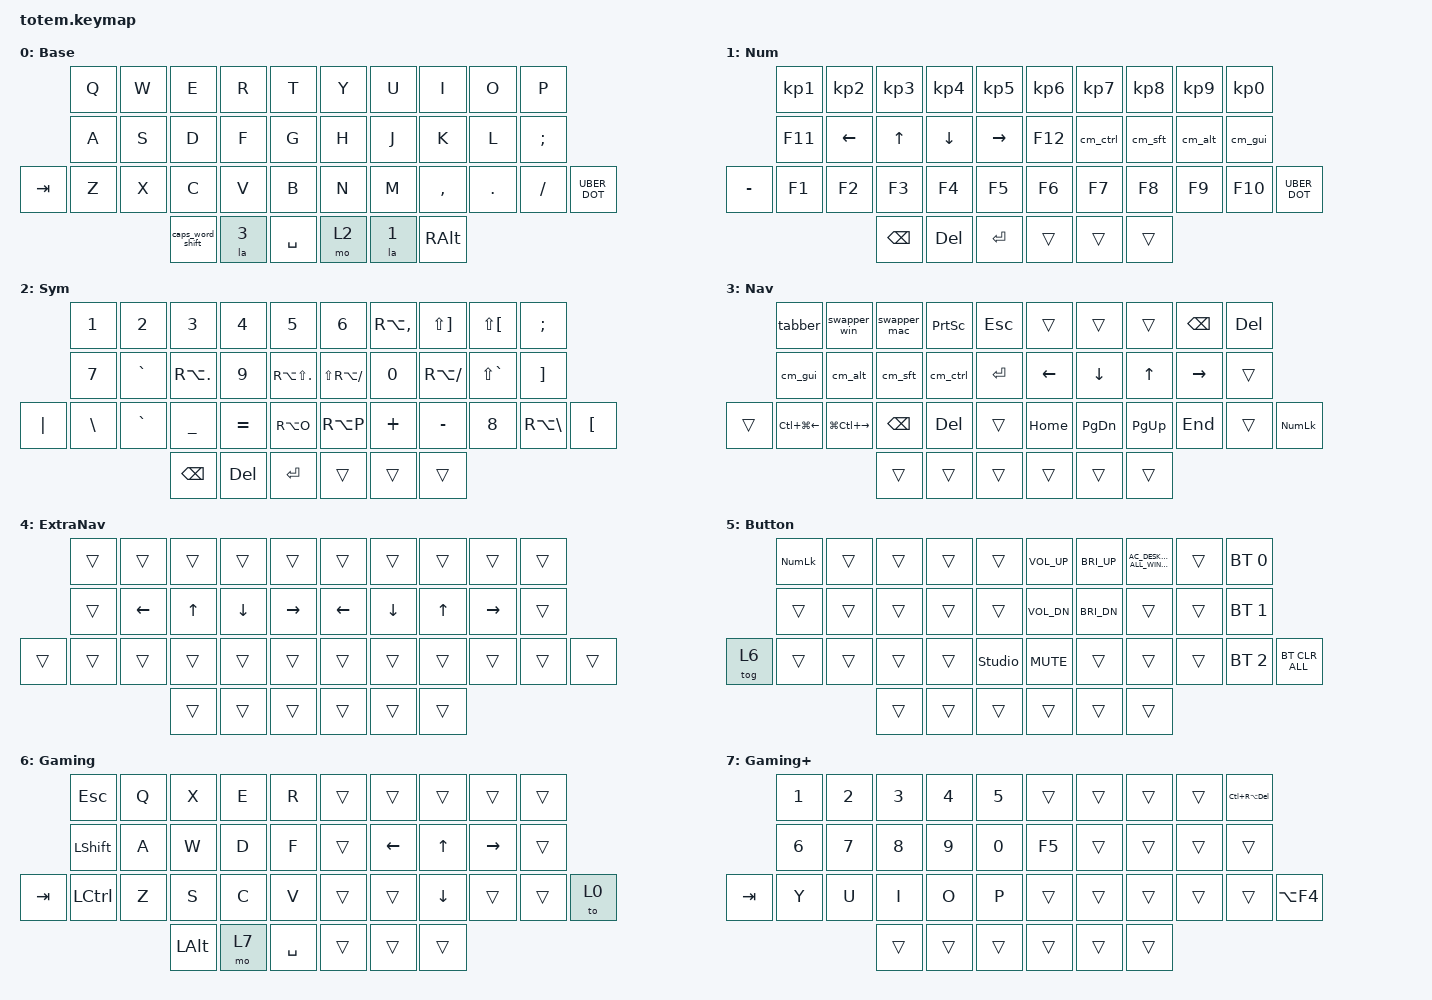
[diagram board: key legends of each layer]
//
//                                                        ▀▀▀▀▀     ▀▀▀▀▀          ▀▀█▀▀
//                                                        ▄▀▀▀▄  ▄  ▄▀▀▀▄  ▄  ▄▀▀▀▄  █  ▄▀▀▀▄
//                                                        █   █  █  █   █  █  █   █  █  █   █
//                                                         ▀▀▀   █   ▀▀▀   █   ▀▀▀   ▀   ▀▀▀
//                                                               █      ▄▄▄█▄▄▄    █   █  
//                                                               ▀      █  █  █     █▄█
//                                                             ▀▀▀▀▀    █  █  █      ▀
//                                                                      ▀  ▀  ▀
//
// ▄▄▄▄▄▄▄▄▄▄▄▄▄▄▄▄▄▄▄▄▄▄▄▄▄▄▄▄▄▄▄▄▄▄▄▄▄▄▄▄▄▄▄▄▄▄▄▄▄▄▄▄▄▄▄▄▄▄▄▄▄▄▄▄▄▄▄▄▄▄▄▄▄▄▄▄▄▄▄▄▄▄▄▄▄▄▄▄▄▄▄▄▄▄▄▄▄▄▄▄▄▄▄▄▄▄▄▄▄▄▄▄▄▄▄▄▄▄▄▄▄▄▄▄▄▄▄▄▄▄▄▄▄▄▄▄▄▄▄▄▄▄▄▄▄▄▄▄▄

#include <behaviors.dtsi>
#include <dt-bindings/zmk/bt.h>
#include <dt-bindings/zmk/keys.h>

#define Base        0
#define Media       1
#define Nav         2
#define Mouse       3
#define Sym         4
#define Num         5
#define Fun         6
#define Button      7
#define Game        8
#define Gameplus    9

#define MEH(key) LS(LC(LA(key)))

#define SQT GRAVE
#define DQT LS(GRAVE)
#define GRV RA(GRAVE)
#define PIP LS(BSLH)
#define BSL RA(BSLH)
#define NBSP RA(SPACE)
#define NSPC LC(LG(RIGHT))
#define PSPC LC(LG(LEFT))
#define PARAM_1 0
#define PARAM_2 0

#define MACRO(NAME, COMPATIBLE, BINDING_CELLS, BINDINGS) \
    NAME: NAME { \
        compatible = COMPATIBLE; \
        #binding-cells = <BINDING_CELLS>; \
        wait-ms = <0>; \
        tap-ms = <0>; \
        bindings = \
            <BINDINGS>; \
    };
#define MACRO_NO_PARAM(NAME, BINDINGS)  MACRO(NAME, "zmk,behavior-macro"          , 0, BINDINGS)
#define MACRO_ONE_PARAM(NAME, BINDINGS) MACRO(NAME, "zmk,behavior-macro-one-param", 1, BINDINGS)
#define MACRO_TWO_PARAM(NAME, BINDINGS) MACRO(NAME, "zmk,behavior-macro-two-param", 2, BINDINGS)

#define MAX_TIMER __UINT32_MAX__ // around 50 days

#define STICKY_FOREVER(NAME, BIND) \
    NAME: NAME { \
        compatible = "zmk,behavior-sticky-key"; \
        #binding-cells = <1>; \
        bindings = <BIND>; \
        release-after-ms = <MAX_TIMER>; \
        ignore-modifiers; \
    };
#define MODMORPH(NAME, NORMAL, MORPHED, MODS, KEEP_MODS) \
    NAME: NAME { \
        compatible = "zmk,behavior-mod-morph"; \
        #binding-cells = <0>; \
        bindings = <NORMAL>, <MORPHED>; \
        mods = <(MODS)>; \
        keep-mods = <(KEEP_MODS)>; \
    };

/ {
    behaviors {
        MACRO_ONE_PARAM(
            m_release_key_twice,
            &macro_release
                &macro_param_1to1 &kp PARAM_1
                &macro_param_1to1 &kp PARAM_1
        )


        MACRO_ONE_PARAM(
            m_press_key_twice,
            &macro_press
                &macro_param_1to1 &kp PARAM_1
                &macro_param_1to1 &kp PARAM_1
            &macro_pause_for_release
            &macro_tap
                &m_release_key_twice PARAM_1
        )

        STICKY_FOREVER(sticky_forever, &m_press_key_twice)

        MODMORPH(
            cm_gui,
            &sticky_forever LGUI,
            &m_release_key_twice LGUI,
            MOD_LGUI,
            MOD_LGUI
        )

        MODMORPH(
            cm_alt,
            &sticky_forever LALT,
            &m_release_key_twice LALT,
            MOD_LALT,
            MOD_LALT
        )

        MODMORPH(
            cm_ctrl,
            &sticky_forever LCTRL,
            &m_release_key_twice LCTRL,
            MOD_LCTL,
            MOD_LCTL
        )

        MODMORPH(
            cm_sft,
            &sticky_forever LSHIFT,
            &m_release_key_twice LSHIFT,
            MOD_LSFT,
            MOD_LSFT
        )

        MACRO_TWO_PARAM(
            m_hold_mod_press_key,
            &macro_press
                &macro_param_1to1 &kp PARAM_1
            &macro_tap
                &macro_param_2to1 &kp PARAM_2
        )

        MODMORPH(
            tabber,
            &m_hold_mod_press_key LCTRL TAB,
            &kp TAB,
            MOD_LCTL,
            MOD_LCTL
        )

        MODMORPH(
            swapper_win,
            &m_hold_mod_press_key LALT TAB,
            &kp TAB,
            MOD_LALT,
            MOD_LALT
        )

        MODMORPH(
            swapper_mac,
            &m_hold_mod_press_key LGUI TAB,
            &kp TAB,
            MOD_LGUI,
            MOD_LGUI
        )

        MACRO_ONE_PARAM(
            la,
            &macro_tap
                &kp 0 // do nothing, fire all sticky keys
        &macro_press
                &macro_param_1to1 &mo PARAM_1
            &macro_pause_for_release
            &macro_release
                &macro_param_1to1 &mo PARAM_1
                &kp LSHFT
                &kp LCTRL
                &kp LALT
                &kp LGUI
        )

        KP_DOT_SHIFT_COMMA: KP_DOT_SHIFT_COMMA {
            compatible = "zmk,behavior-mod-morph";
            label = "KP_DOT_SHIFT_COMMA";
            bindings = <&kp RBKT>, <&kp LBKT>;

            #binding-cells = <0>;
            mods = <(MOD_LSFT|MOD_RSFT)>;
        };

        KP_COLON_SHIFT_SEMICOLON: KP_COLON_SHIFT_SEMICOLON {
            compatible = "zmk,behavior-mod-morph";
            label = "KP_COLON_SHIFT_SEMICOLON";
            bindings = <&kp LS(RBKT)>, <&kp LS(LBKT)>;

            #binding-cells = <0>;
            mods = <(MOD_LSFT|MOD_RSFT)>;
        };

        UBER_DOT: UBER_DOT {
            compatible = "zmk,behavior-mod-morph";
            label = "UBER_DOT";
            bindings = <&KP_DOT_SHIFT_COMMA>, <&KP_COLON_SHIFT_SEMICOLON>;

            #binding-cells = <0>;
            mods = <(MOD_LALT|MOD_RALT)>;
        };

        caps_word_shift: caps_word_shift {
            compatible = "zmk,behavior-tap-dance";
            label = "CAPS_WORD_SHIFT";
            #binding-cells = <0>;
            bindings = <&kp LEFT_SHIFT>, <&caps_word>;
        };
    };

    combos {
        compatible = "zmk,combos";

        extra-nav-left {
            bindings = <&mo 4>;
            key-positions = <33 34>;
        };

        enter-left {
            bindings = <&kp ENTER>;
            key-positions = <25 24>;
        };

        enter-right {
            bindings = <&kp ENTER>;
            key-positions = <27 26>;
        };

        delete-left {
            bindings = <&kp DEL>;
            key-positions = <3 4>;
        };

        delete-right {
            bindings = <&kp DEL>;
            key-positions = <5 6>;
        };

        extra-nav-right {
            bindings = <&mo 4>;
            key-positions = <35 36>;
        };

        esc_left {
            bindings = <&kp ESCAPE>;
            key-positions = <4 14>;
        };

        esc_right {
            bindings = <&kp ESCAPE>;
            key-positions = <5 15>;
        };

        LANG {
            bindings = <&kp CAPS>;
            key-positions = <32 37>;
        };

        l5 {
            bindings = <&mo 5>;
            key-positions = <33 36>;
        };
    };

    keymap {
        compatible = "zmk,keymap";

        Base {
            bindings = <
         &kp Q  &kp W  &kp E             &kp R  &kp T        &kp Y  &kp U  &kp I      &kp O    &kp P
         &kp A  &kp S  &kp D             &kp F  &kp G        &kp H  &kp J  &kp K      &kp L    &kp SEMI
&kp TAB  &kp Z  &kp X  &kp C             &kp V  &kp B        &kp N  &kp M  &kp COMMA  &kp DOT  &kp FSLH  &UBER_DOT
                       &caps_word_shift  &la 3  &kp SPACE    &mo 2  &la 1  &kp RALT
            >;
        };

        Num {
            bindings = <
           &kp KP_N1  &kp KP_N2       &kp KP_N3      &kp KP_N4       &kp KP_N5          &kp KP_N6  &kp KP_N7  &kp KP_N8  &kp KP_N9  &kp KP_N0
           &kp F11    &kp LEFT_ARROW  &kp UP_ARROW   &kp DOWN_ARROW  &kp RIGHT_ARROW    &kp F12    &cm_ctrl   &cm_sft    &cm_alt    &cm_gui
&kp MINUS  &kp F1     &kp F2          &kp F3         &kp F4          &kp F5             &kp F6     &kp F7     &kp F8     &kp F9     &kp F10    &UBER_DOT
                                      &kp BACKSPACE  &kp DELETE      &kp ENTER          &trans     &trans     &trans
            >;
        };

        Sym {
            bindings = <
          &kp N1         &kp N2     &kp N3         &kp N4      &kp N5             &kp N6            &kp RA(COMMA)  &kp LS(RBKT)  &kp LS(LBKT)  &kp SEMI
          &kp N7         &kp SQT    &kp RA(DOT)    &kp N9      &kp RA(LS(DOT))    &kp LS(RA(FSLH))  &kp N0         &kp RA(FSLH)  &kp DQT       &kp RBKT
&kp PIPE  &kp BACKSLASH  &kp GRAVE  &kp UNDER      &kp EQUAL   &kp RA(O)          &kp RA(P)         &kp PLUS       &kp MINUS     &kp N8        &kp RA(BSLH)  &kp LBKT
                                    &kp BACKSPACE  &kp DELETE  &kp ENTER          &trans            &trans         &trans
            >;
        };

        Nav {
            bindings = <
        &tabber           &swapper_win       &swapper_mac   &kp PSCRN  &kp ESC    &trans          &trans          &trans        &kp BSPC         &kp DELETE
        &cm_gui           &cm_alt            &cm_sft        &cm_ctrl   &kp RET    &kp LEFT_ARROW  &kp DOWN_ARROW  &kp UP_ARROW  &kp RIGHT_ARROW  &trans
&trans  &kp LC(LG(LEFT))  &kp LG(LC(RIGHT))  &kp BACKSPACE  &kp DEL    &trans     &kp HOME        &kp PG_DN       &kp PG_UP     &kp END          &trans      &kp KP_NUM
                                             &trans         &trans     &trans     &trans          &trans          &trans
            >;
        };

        ExtraNav {
            bindings = <
        &trans  &trans          &trans        &trans          &trans             &trans          &trans          &trans        &trans           &trans
        &trans  &kp LEFT_ARROW  &kp UP_ARROW  &kp DOWN_ARROW  &kp RIGHT_ARROW    &kp LEFT_ARROW  &kp DOWN_ARROW  &kp UP_ARROW  &kp RIGHT_ARROW  &trans
&trans  &trans  &trans          &trans        &trans          &trans             &trans          &trans          &trans        &trans           &trans  &trans
                                &trans        &trans          &trans             &trans          &trans          &trans
            >;
        };

        Button {
            bindings = <
        &kp KP_NUMLOCK  &trans  &trans  &trans  &trans            &kp C_VOL_UP  &kp C_BRI_UP  &kp C_AC_DESKTOP_SHOW_ALL_WINDOWS  &trans  &bt BT_SEL 0
        &trans          &trans  &trans  &trans  &trans            &kp C_VOL_DN  &kp C_BRI_DN  &trans                             &trans  &bt BT_SEL 1
&tog 6  &trans          &trans  &trans  &trans  &studio_unlock    &kp C_MUTE    &trans        &trans                             &trans  &bt BT_SEL 2  &bt BT_CLR_ALL
                                &trans  &trans  &trans            &trans        &trans        &trans
            >;
        };

        Gaming {
            bindings = <
         &kp ESCAPE        &kp Q  &kp X         &kp E  &kp R        &trans  &trans          &trans          &trans           &trans
         &kp LEFT_SHIFT    &kp A  &kp W         &kp D  &kp F        &trans  &kp LEFT_ARROW  &kp UP_ARROW    &kp RIGHT_ARROW  &trans
&kp TAB  &kp LEFT_CONTROL  &kp Z  &kp S         &kp C  &kp V        &trans  &trans          &kp DOWN_ARROW  &trans           &trans  &to 0
                                  &kp LEFT_ALT  &mo 7  &kp SPACE    &trans  &trans          &trans
            >;
        };

        Gaming+ {
            bindings = <
         &kp NUMBER_1  &kp NUMBER_2  &kp NUMBER_3  &kp NUMBER_4  &kp NUMBER_5    &trans  &trans  &trans  &trans  &kp LC(RA(DEL))
         &kp NUMBER_6  &kp NUMBER_7  &kp NUMBER_8  &kp NUMBER_9  &kp NUMBER_0    &kp F5  &trans  &trans  &trans  &trans
&kp TAB  &kp Y         &kp U         &kp I         &kp O         &kp P           &trans  &trans  &trans  &trans  &trans           &kp LA(F4)
                                     &trans        &trans        &trans          &trans  &trans  &trans
            >;
        };
    };

    conditional_layers { compatible = "zmk,conditional-layers"; };
};
